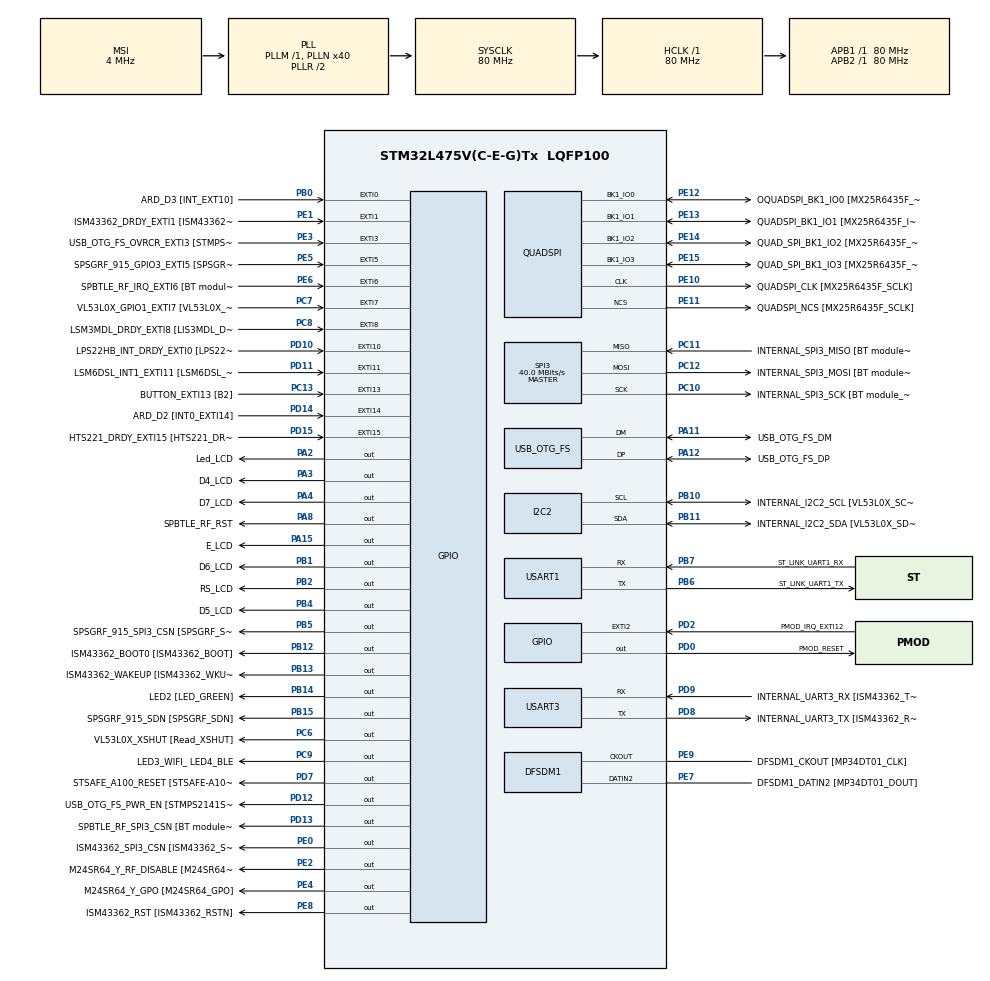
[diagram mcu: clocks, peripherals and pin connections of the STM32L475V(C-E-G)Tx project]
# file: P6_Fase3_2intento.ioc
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Mcu.Family=STM32L4
Mcu.Name=STM32L475V(C-E-G)Tx
Mcu.Package=LQFP100
NVIC.EXTI15_10_IRQn=true\:0\:0\:false\:false\:true\:true\:true\:true
NVIC.EXTI9_5_IRQn=true\:0\:0\:false\:false\:true\:true\:true\:true
NVIC.OTG_FS_IRQn=true\:0\:0\:false\:false\:true\:true\:true\:true
NVIC.PriorityGroup=NVIC_PRIORITYGROUP_4
PA0.GPIO_Label=ARD_D1 [UART4_TX]
PA0.Signal=UART4_TX
PA1.GPIO_Label=ARD_D0 [UART4_RX]
PA1.Signal=UART4_RX
PA10.GPIO_Label=USB_OTG_FS_ID
PA10.Signal=USB_OTG_FS_ID
PA11.GPIO_Label=USB_OTG_FS_DM
PA11.Mode=Device_Only
PA11.Signal=USB_OTG_FS_DM
PA12.GPIO_Label=USB_OTG_FS_DP
PA12.Mode=Device_Only
PA12.Signal=USB_OTG_FS_DP
PA13\ (JTMS-SWDIO).GPIO_Label=SYS_JTMS_SWDIO
PA13\ (JTMS-SWDIO).Mode=Serial_Wire
PA13\ (JTMS-SWDIO).Signal=SYS_JTMS-SWDIO
PA14\ (JTCK-SWCLK).GPIO_Label=SYS_JTCK_SWCLK
PA14\ (JTCK-SWCLK).Mode=Serial_Wire
PA14\ (JTCK-SWCLK).Signal=SYS_JTCK-SWCLK
PA15\ (JTDI).GPIO_Label=E_LCD
PA15\ (JTDI).Signal=GPIO_Output
PA2.GPIO_Label=Led_LCD
PA2.Signal=GPIO_Output
PA3.GPIO_Label=D4_LCD
PA3.Signal=GPIO_Output
PA4.GPIO_Label=D7_LCD
PA4.Signal=GPIO_Output
PA5.GPIO_Label=ARD_D13 [SPI1_SCK]
PA5.Signal=SPI1_SCK
PA6.GPIO_Label=ARD_D12 [SPI1_MISO]
PA6.Signal=SPI1_MISO
PA7.GPIO_Label=ARD_D11 [SPI1_MOSI]
PA7.Signal=SPI1_MOSI
PA8.GPIO_Label=SPBTLE_RF_RST
PA8.Signal=GPIO_Output
PA9.GPIO_Label=USB_OTG_FS_VBUS [STMPS2141STR_OUT]
PA9.Signal=USB_OTG_FS_VBUS
PB0.GPIO_Label=ARD_D3 [INT_EXT10]
PB0.Signal=GPXTI0
PB1.GPIO_Label=D6_LCD
PB1.Signal=GPIO_Output
PB10.GPIO_Label=INTERNAL_I2C2_SCL [VL53L0X_SCL]
PB10.GPIO_Pu=GPIO_PULLUP
PB10.Mode=I2C
PB10.Signal=I2C2_SCL
PB11.GPIO_Label=INTERNAL_I2C2_SDA [VL53L0X_SDA]
PB11.GPIO_Pu=GPIO_PULLUP
PB11.Mode=I2C
PB11.Signal=I2C2_SDA
PB12.GPIO_Label=ISM43362_BOOT0 [ISM43362_BOOT]
PB12.Signal=GPIO_Output
PB13.GPIO_Label=ISM43362_WAKEUP [ISM43362_WKUP]
PB13.Signal=GPIO_Output
PB14.GPIO_Label=LED2 [LED_GREEN]
PB14.Signal=GPIO_Output
PB15.GPIO_Label=SPSGRF_915_SDN [SPSGRF_SDN]
PB15.Signal=GPIO_Output
PB2.GPIO_Label=RS_LCD
PB2.Signal=GPIO_Output
PB3\ (JTDO-TRACESWO).GPIO_Label=SYS_JTD0_SWO
PB3\ (JTDO-TRACESWO).Signal=SYS_JTDO-SWO
PB4\ (NJTRST).GPIO_Label=D5_LCD
PB4\ (NJTRST).Signal=GPIO_Output
PB5.GPIO_Label=SPSGRF_915_SPI3_CSN [SPSGRF_SPI_CS]
PB5.PinState=GPIO_PIN_SET
PB5.Signal=GPIO_Output
PB6.GPIO_Label=ST_LINK_UART1_TX
PB6.Mode=Asynchronous
PB6.Signal=USART1_TX
PB7.GPIO_Label=ST_LINK_UART1_RX
PB7.Mode=Asynchronous
PB7.Signal=USART1_RX
PB8.GPIO_Label=ARD_D15 [I2C1_SCL]
PB8.Signal=I2C1_SCL
PB9.GPIO_Label=ARD_D14 [I2C1_SDA]
PB9.Signal=I2C1_SDA
PC0.GPIO_Label=ARD_A5 [ADC]
PC0.Signal=ADCx_IN1
PC1.GPIO_Label=ARD_A4 [ADC]
PC1.Signal=ADCx_IN2
PC10.GPIO_Label=INTERNAL_SPI3_SCK [BT module_SPI_SCLK] [ISM43362_SCK]
PC10.Mode=Full_Duplex_Master
PC10.Signal=SPI3_SCK
PC11.GPIO_Label=INTERNAL_SPI3_MISO [BT module_SPI_MISO] [ISM43362_MISO]
PC11.Mode=Full_Duplex_Master
PC11.Signal=SPI3_MISO
PC12.GPIO_Label=INTERNAL_SPI3_MOSI [BT module_SPI_MOSI] [ISM43362_MOSI]
PC12.Mode=Full_Duplex_Master
PC12.Signal=SPI3_MOSI
PC13.GPIO_Label=BUTTON_EXTI13 [B2]
PC13.GPIO_ModeDefaultEXTI=GPIO_MODE_IT_FALLING
PC13.Signal=GPXTI13
PC14-OSC32_IN\ (PC14).Mode=LSE-External-Oscillator
PC14-OSC32_IN\ (PC14).Signal=RCC_OSC32_IN
PC15-OSC32_OUT\ (PC15).Mode=LSE-External-Oscillator
PC15-OSC32_OUT\ (PC15).Signal=RCC_OSC32_OUT
PC2.GPIO_Label=ARD_A3 [ADC]
PC2.Signal=ADCx_IN3
PC3.GPIO_Label=ARD_A2 [ADC]
PC3.Signal=ADCx_IN4
PC4.GPIO_Label=ARD_A1 [ADC]
PC4.Signal=ADCx_IN13
PC5.GPIO_Label=ARD_A0 [ADC]
PC5.Signal=ADCx_IN14
PC6.GPIO_Label=VL53L0X_XSHUT [Read_XSHUT]
PC6.Signal=GPIO_Output
PC7.GPIO_Label=VL53L0X_GPIO1_EXTI7 [VL53L0X_GPIO1]
PC7.Signal=GPXTI7
PC8.GPIO_Label=LSM3MDL_DRDY_EXTI8 [LIS3MDL_DRDY]
PC8.Signal=GPXTI8
PC9.GPIO_Label=LED3_WIFI_ LED4_BLE
PC9.Signal=GPIO_Output
PD0.GPIO_Label=PMOD_RESET
PD0.Signal=GPIO_Output
PD1.GPIO_Label=PMOD_SPI2_SCK
PD1.Signal=SPI2_SCK
PD10.GPIO_Label=LPS22HB_INT_DRDY_EXTI0 [LPS22HB_INT_DRDY] 
PD10.Signal=GPXTI10
PD11.GPIO_Label=LSM6DSL_INT1_EXTI11 [LSM6DSL_INT1]
PD11.Signal=GPXTI11
PD12.GPIO_Label=USB_OTG_FS_PWR_EN [STMPS2141STR_EN]
PD12.Signal=GPIO_Output
PD13.GPIO_Label=SPBTLE_RF_SPI3_CSN [BT module_SPI_CS]
PD13.PinState=GPIO_PIN_SET
PD13.Signal=GPIO_Output
PD14.GPIO_Label=ARD_D2 [INT0_EXTI14]
PD14.Signal=GPXTI14
PD15.GPIO_Label=HTS221_DRDY_EXTI15 [HTS221_DRDY]
PD15.Signal=GPXTI15
PD2.GPIO_Label=PMOD_IRQ_EXTI12
PD2.Signal=GPXTI2
PD3.GPIO_Label=PMOD_UART2_CTS
PD3.Signal=USART2_CTS
PD4.GPIO_Label=PMOD_UART2_RTS
PD4.Signal=USART2_RTS
PD5.GPIO_Label=PMOD_UART2_TX
PD5.Signal=USART2_TX
PD6.GPIO_Label=PMOD_UART2_RX
PD6.Signal=USART2_RX
PD7.GPIO_Label=STSAFE_A100_RESET [STSAFE-A100_RESET]
PD7.Signal=GPIO_Output
PD8.GPIO_Label=INTERNAL_UART3_TX [ISM43362_RX]
PD8.Mode=Asynchronous
PD8.Signal=USART3_TX
PD9.GPIO_Label=INTERNAL_UART3_RX [ISM43362_TX]
PD9.Mode=Asynchronous
PD9.Signal=USART3_RX
PE0.GPIO_Label=ISM43362_SPI3_CSN [ISM43362_SSN]
PE0.PinState=GPIO_PIN_SET
PE0.Signal=GPIO_Output
PE1.GPIO_Label=ISM43362_DRDY_EXTI1 [ISM43362_DATARDY]
PE1.Signal=GPXTI1
PE10.GPIO_Label=QUADSPI_CLK [MX25R6435F_SCLK]
PE10.Mode=Single Bank
PE10.Signal=QUADSPI_CLK
PE11.GPIO_Label=QUADSPI_NCS [MX25R6435F_SCLK]
PE11.Mode=Single Bank
PE11.Signal=QUADSPI_NCS
PE12.GPIO_Label=OQUADSPI_BK1_IO0 [MX25R6435F_IO0]
PE12.Mode=Single Bank
PE12.Signal=QUADSPI_BK1_IO0
PE13.GPIO_Label=QUADSPI_BK1_IO1 [MX25R6435F_IO1]
PE13.Mode=Single Bank
PE13.Signal=QUADSPI_BK1_IO1
PE14.GPIO_Label=QUAD_SPI_BK1_IO2 [MX25R6435F_IO2]
PE14.Mode=Single Bank
PE14.Signal=QUADSPI_BK1_IO2
PE15.GPIO_Label=QUAD_SPI_BK1_IO3 [MX25R6435F_IO3]
PE15.Mode=Single Bank
PE15.Signal=QUADSPI_BK1_IO3
PE2.GPIO_Label=M24SR64_Y_RF_DISABLE [M24SR64_RFDIS]
PE2.Signal=GPIO_Output
PE3.GPIO_Label=USB_OTG_FS_OVRCR_EXTI3 [STMPS2141STR_FAULT]
PE3.Signal=GPXTI3
PE4.GPIO_Label=M24SR64_Y_GPO [M24SR64_GPO]
PE4.Signal=GPIO_Output
PE5.GPIO_Label=SPSGRF_915_GPIO3_EXTI5 [SPSGRF_GPIO_3]
PE5.Signal=GPXTI5
PE6.GPIO_Label=SPBTLE_RF_IRQ_EXTI6 [BT module_SPI_IRQ]
PE6.Signal=GPXTI6
PE7.GPIO_Label=DFSDM1_DATIN2 [MP34DT01_DOUT]
PE7.Signal=S_DATAIN2DFSDM1
PE8.GPIO_Label=ISM43362_RST [ISM43362_RSTN]
PE8.Signal=GPIO_Output
PE9.GPIO_Label=DFSDM1_CKOUT [MP34DT01_CLK]
PE9.Signal=S_CKOUTDFSDM1
ProjectManager.HeapSize=0x200
ProjectManager.StackSize=0x400
ProjectManager.TargetToolchain=STM32CubeIDE
QUADSPI.ClockPrescaler=2
QUADSPI.FifoThreshold=4
QUADSPI.FlashSize=23
QUADSPI.SampleShifting=QSPI_SAMPLE_SHIFTING_HALFCYCLE
RCC.ADCFreq_Value=48000000
RCC.AHBFreq_Value=80000000
RCC.APB1Freq_Value=80000000
RCC.APB1TimFreq_Value=80000000
RCC.APB2Freq_Value=80000000
RCC.APB2TimFreq_Value=80000000
RCC.CortexFreq_Value=80000000
RCC.HCLKFreq_Value=80000000
RCC.HSE_VALUE=8000000
RCC.HSI_VALUE=16000000
RCC.MSI_VALUE=4000000
RCC.PLLN=40
RCC.PLLSAI1N=24
RCC.SYSCLKFreq_VALUE=80000000
RCC.SYSCLKSource=RCC_SYSCLKSOURCE_PLLCLK
RCC.USBFreq_Value=48000000
RCC.VCOOutputFreq_Value=160000000
SH.ADCx_IN1.0=ADC1_IN1
SH.ADCx_IN13.0=ADC1_IN13
SH.ADCx_IN14.0=ADC1_IN14
SH.ADCx_IN2.0=ADC1_IN2
SH.ADCx_IN3.0=ADC1_IN3
SH.ADCx_IN4.0=ADC1_IN4
SH.S_CKOUTDFSDM1.0=DFSDM1_CKOUT,CKOUT
SH.S_CKOUTDFSDM1.1=DFSDM1_CKOUT,PDM_SPI_Input_from_ch12_and_Internal_Clock
SH.S_DATAIN2DFSDM1.0=DFSDM1_DATIN2,PDM_SPI_Input_from_ch12_and_Internal_Clock
SPI3.CalculateBaudRate=40.0 MBits/s
SPI3.Direction=SPI_DIRECTION_2LINES
SPI3.Mode=SPI_MODE_MASTER
SPI3.VirtualType=VM_MASTER
USART1.VirtualMode-Asynchronous=VM_ASYNC
USART3.VirtualMode-Asynchronous=VM_ASYNC
USB_DEVICE.CLASS_NAME_FS=CUSTOM_HID
USB_DEVICE.PID_CUSTOMHID_FS=22367
USB_DEVICE.USBD_CUSTOMHID_OUTREPORT_BUF_SIZE=6
USB_DEVICE.USBD_CUSTOM_HID_REPORT_DESC_SIZE=29
USB_DEVICE.VID=1337
USB_DEVICE.VirtualMode=CustomHid
USB_DEVICE.VirtualModeFS=Custom_Hid_FS
USB_OTG_FS.VirtualMode=Device_Only
VP_USB_DEVICE_VS_USB_DEVICE_CUSTOM_HID_FS.Mode=CUSTOM_HID_FS
board=B-L475E-IOT01A2

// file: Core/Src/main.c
/* USER CODE BEGIN Header */
/**
  ******************************************************************************
  * @file           : main.c
  * @brief          : Main program body
  ******************************************************************************
  * @attention
  *
  * Copyright (c) 2024 STMicroelectronics.
  * All rights reserved.
  *
  * This software is licensed under terms that can be found in the LICENSE file
  * in the root directory of this software component.
  * If no LICENSE file comes with this software, it is provided AS-IS.
  *
  ******************************************************************************
  */
/* USER CODE END Header */
#include "main.h"
#include "usb_device.h"
#include "hd44780.h"

DFSDM_Channel_HandleTypeDef hdfsdm1_channel1;

I2C_HandleTypeDef hi2c2;

QSPI_HandleTypeDef hqspi;

SPI_HandleTypeDef hspi3;

UART_HandleTypeDef huart1;
UART_HandleTypeDef huart3;

void SystemClock_Config(void);
static void MX_GPIO_Init(void);
static void MX_DFSDM1_Init(void);
static void MX_I2C2_Init(void);
static void MX_QUADSPI_Init(void);
static void MX_SPI3_Init(void);
static void MX_USART1_UART_Init(void);
static void MX_USART3_UART_Init(void);

/* USER CODE BEGIN 0 */
extern USBD_HandleTypeDef hUsbDeviceFS;
extern uint8_t miflag;
/* USER CODE END 0 */

int main(void)
{

  /* MCU Configuration--------------------------------------------------------*/

  /* Reset of all peripherals, Initializes the Flash interface and the Systick. */
  HAL_Init();

  /* Configure the system clock */
  SystemClock_Config();

  /* Initialize all configured peripherals */
  MX_GPIO_Init();
  MX_DFSDM1_Init();
  MX_I2C2_Init();
  MX_QUADSPI_Init();
  MX_SPI3_Init();
  MX_USART1_UART_Init();
  MX_USART3_UART_Init();
  MX_USB_DEVICE_Init();
  /* USER CODE BEGIN 2 */
HAL_Delay(5000);
int i;
uint8_t dato[6];
dato[0]= 0;
USBD_LL_PrepareReceive(&hUsbDeviceFS, 1, dato, 6);
HAL_GPIO_WritePin(Led_LCD_GPIO_Port, Led_LCD_Pin,1);
lcd_reset();
lcd_clear();
lcd_display_settings(1,0,0);
lcd_print("Hola");
  /* USER CODE END 2 */

  /* Infinite loop */
  /* USER CODE BEGIN WHILE */
  while (1)
  {
	  if(miflag==1){
		  USBD_LL_PrepareReceive(&hUsbDeviceFS, 1, dato, 6);
		  	  miflag= 0;
	  }
	  for(i = 0; i<50;i++){
		 dato[1]=4;
		 dato[2]= 4;
		 USBD_CUSTOM_HID_SendReport_FS(dato, 6);
		 HAL_Delay(100);
	  }
	  for(i = 0; i<50;i++){
	  		 dato[1]=-4;
	  		 dato[2]= -4;
	  		 USBD_CUSTOM_HID_SendReport_FS(dato, 6);
	  		 HAL_Delay(100);
	  	  }
    /* USER CODE END WHILE */

  }
}

void SystemClock_Config(void)
{
  RCC_OscInitTypeDef RCC_OscInitStruct = {0};
  RCC_ClkInitTypeDef RCC_ClkInitStruct = {0};

  /** Configure the main internal regulator output voltage
  */
  if (HAL_PWREx_ControlVoltageScaling(PWR_REGULATOR_VOLTAGE_SCALE1) != HAL_OK)
  {
    Error_Handler();
  }

  /** Configure LSE Drive Capability
  */
  HAL_PWR_EnableBkUpAccess();
  __HAL_RCC_LSEDRIVE_CONFIG(RCC_LSEDRIVE_LOW);

  /** Initializes the RCC Oscillators according to the specified parameters
  * in the RCC_OscInitTypeDef structure.
  */
  RCC_OscInitStruct.OscillatorType = RCC_OSCILLATORTYPE_LSE|RCC_OSCILLATORTYPE_MSI;
  RCC_OscInitStruct.LSEState = RCC_LSE_ON;
  RCC_OscInitStruct.MSIState = RCC_MSI_ON;
  RCC_OscInitStruct.MSICalibrationValue = 0;
  RCC_OscInitStruct.MSIClockRange = RCC_MSIRANGE_6;
  RCC_OscInitStruct.PLL.PLLState = RCC_PLL_ON;
  RCC_OscInitStruct.PLL.PLLSource = RCC_PLLSOURCE_MSI;
  RCC_OscInitStruct.PLL.PLLM = 1;
  RCC_OscInitStruct.PLL.PLLN = 40;
  RCC_OscInitStruct.PLL.PLLP = RCC_PLLP_DIV7;
  RCC_OscInitStruct.PLL.PLLQ = RCC_PLLQ_DIV2;
  RCC_OscInitStruct.PLL.PLLR = RCC_PLLR_DIV2;
  if (HAL_RCC_OscConfig(&RCC_OscInitStruct) != HAL_OK)
  {
    Error_Handler();
  }

  /** Initializes the CPU, AHB and APB buses clocks
  */
  RCC_ClkInitStruct.ClockType = RCC_CLOCKTYPE_HCLK|RCC_CLOCKTYPE_SYSCLK
                              |RCC_CLOCKTYPE_PCLK1|RCC_CLOCKTYPE_PCLK2;
  RCC_ClkInitStruct.SYSCLKSource = RCC_SYSCLKSOURCE_PLLCLK;
  RCC_ClkInitStruct.AHBCLKDivider = RCC_SYSCLK_DIV1;
  RCC_ClkInitStruct.APB1CLKDivider = RCC_HCLK_DIV1;
  RCC_ClkInitStruct.APB2CLKDivider = RCC_HCLK_DIV1;

  if (HAL_RCC_ClockConfig(&RCC_ClkInitStruct, FLASH_LATENCY_4) != HAL_OK)
  {
    Error_Handler();
  }

  /** Enable MSI Auto calibration
  */
  HAL_RCCEx_EnableMSIPLLMode();
}

static void MX_DFSDM1_Init(void)
{

  hdfsdm1_channel1.Instance = DFSDM1_Channel1;
  hdfsdm1_channel1.Init.OutputClock.Activation = ENABLE;
  hdfsdm1_channel1.Init.OutputClock.Selection = DFSDM_CHANNEL_OUTPUT_CLOCK_SYSTEM;
  hdfsdm1_channel1.Init.OutputClock.Divider = 2;
  hdfsdm1_channel1.Init.Input.Multiplexer = DFSDM_CHANNEL_EXTERNAL_INPUTS;
  hdfsdm1_channel1.Init.Input.DataPacking = DFSDM_CHANNEL_STANDARD_MODE;
  hdfsdm1_channel1.Init.Input.Pins = DFSDM_CHANNEL_FOLLOWING_CHANNEL_PINS;
  hdfsdm1_channel1.Init.SerialInterface.Type = DFSDM_CHANNEL_SPI_RISING;
  hdfsdm1_channel1.Init.SerialInterface.SpiClock = DFSDM_CHANNEL_SPI_CLOCK_INTERNAL;
  hdfsdm1_channel1.Init.Awd.FilterOrder = DFSDM_CHANNEL_FASTSINC_ORDER;
  hdfsdm1_channel1.Init.Awd.Oversampling = 1;
  hdfsdm1_channel1.Init.Offset = 0;
  hdfsdm1_channel1.Init.RightBitShift = 0x00;
  if (HAL_DFSDM_ChannelInit(&hdfsdm1_channel1) != HAL_OK)
  {
    Error_Handler();
  }

}

static void MX_I2C2_Init(void)
{

  hi2c2.Instance = I2C2;
  hi2c2.Init.Timing = 0x00000E14;
  hi2c2.Init.OwnAddress1 = 0;
  hi2c2.Init.AddressingMode = I2C_ADDRESSINGMODE_7BIT;
  hi2c2.Init.DualAddressMode = I2C_DUALADDRESS_DISABLE;
  hi2c2.Init.OwnAddress2 = 0;
  hi2c2.Init.OwnAddress2Masks = I2C_OA2_NOMASK;
  hi2c2.Init.GeneralCallMode = I2C_GENERALCALL_DISABLE;
  hi2c2.Init.NoStretchMode = I2C_NOSTRETCH_DISABLE;
  if (HAL_I2C_Init(&hi2c2) != HAL_OK)
  {
    Error_Handler();
  }

  /** Configure Analogue filter
  */
  if (HAL_I2CEx_ConfigAnalogFilter(&hi2c2, I2C_ANALOGFILTER_ENABLE) != HAL_OK)
  {
    Error_Handler();
  }

  /** Configure Digital filter
  */
  if (HAL_I2CEx_ConfigDigitalFilter(&hi2c2, 0) != HAL_OK)
  {
    Error_Handler();
  }

}

static void MX_QUADSPI_Init(void)
{

  /* QUADSPI parameter configuration*/
  hqspi.Instance = QUADSPI;
  hqspi.Init.ClockPrescaler = 2;
  hqspi.Init.FifoThreshold = 4;
  hqspi.Init.SampleShifting = QSPI_SAMPLE_SHIFTING_HALFCYCLE;
  hqspi.Init.FlashSize = 23;
  hqspi.Init.ChipSelectHighTime = QSPI_CS_HIGH_TIME_1_CYCLE;
  hqspi.Init.ClockMode = QSPI_CLOCK_MODE_0;
  if (HAL_QSPI_Init(&hqspi) != HAL_OK)
  {
    Error_Handler();
  }

}

static void MX_SPI3_Init(void)
{

  /* SPI3 parameter configuration*/
  hspi3.Instance = SPI3;
  hspi3.Init.Mode = SPI_MODE_MASTER;
  hspi3.Init.Direction = SPI_DIRECTION_2LINES;
  hspi3.Init.DataSize = SPI_DATASIZE_4BIT;
  hspi3.Init.CLKPolarity = SPI_POLARITY_LOW;
  hspi3.Init.CLKPhase = SPI_PHASE_1EDGE;
  hspi3.Init.NSS = SPI_NSS_SOFT;
  hspi3.Init.BaudRatePrescaler = SPI_BAUDRATEPRESCALER_2;
  hspi3.Init.FirstBit = SPI_FIRSTBIT_MSB;
  hspi3.Init.TIMode = SPI_TIMODE_DISABLE;
  hspi3.Init.CRCCalculation = SPI_CRCCALCULATION_DISABLE;
  hspi3.Init.CRCPolynomial = 7;
  hspi3.Init.CRCLength = SPI_CRC_LENGTH_DATASIZE;
  hspi3.Init.NSSPMode = SPI_NSS_PULSE_ENABLE;
  if (HAL_SPI_Init(&hspi3) != HAL_OK)
  {
    Error_Handler();
  }

}

static void MX_USART1_UART_Init(void)
{

  huart1.Instance = USART1;
  huart1.Init.BaudRate = 115200;
  huart1.Init.WordLength = UART_WORDLENGTH_8B;
  huart1.Init.StopBits = UART_STOPBITS_1;
  huart1.Init.Parity = UART_PARITY_NONE;
  huart1.Init.Mode = UART_MODE_TX_RX;
  huart1.Init.HwFlowCtl = UART_HWCONTROL_NONE;
  huart1.Init.OverSampling = UART_OVERSAMPLING_16;
  huart1.Init.OneBitSampling = UART_ONE_BIT_SAMPLE_DISABLE;
  huart1.AdvancedInit.AdvFeatureInit = UART_ADVFEATURE_NO_INIT;
  if (HAL_UART_Init(&huart1) != HAL_OK)
  {
    Error_Handler();
  }

}

static void MX_USART3_UART_Init(void)
{

  huart3.Instance = USART3;
  huart3.Init.BaudRate = 115200;
  huart3.Init.WordLength = UART_WORDLENGTH_8B;
  huart3.Init.StopBits = UART_STOPBITS_1;
  huart3.Init.Parity = UART_PARITY_NONE;
  huart3.Init.Mode = UART_MODE_TX_RX;
  huart3.Init.HwFlowCtl = UART_HWCONTROL_NONE;
  huart3.Init.OverSampling = UART_OVERSAMPLING_16;
  huart3.Init.OneBitSampling = UART_ONE_BIT_SAMPLE_DISABLE;
  huart3.AdvancedInit.AdvFeatureInit = UART_ADVFEATURE_NO_INIT;
  if (HAL_UART_Init(&huart3) != HAL_OK)
  {
    Error_Handler();
  }

}

static void MX_GPIO_Init(void)
{
  GPIO_InitTypeDef GPIO_InitStruct = {0};

  /* GPIO Ports Clock Enable */
  __HAL_RCC_GPIOE_CLK_ENABLE();
  __HAL_RCC_GPIOC_CLK_ENABLE();
  __HAL_RCC_GPIOA_CLK_ENABLE();
  __HAL_RCC_GPIOB_CLK_ENABLE();
  __HAL_RCC_GPIOD_CLK_ENABLE();

  /*Configure GPIO pin Output Level */
  HAL_GPIO_WritePin(GPIOE, M24SR64_Y_RF_DISABLE_Pin|M24SR64_Y_GPO_Pin|ISM43362_RST_Pin, GPIO_PIN_RESET);

  /*Configure GPIO pin Output Level */
  HAL_GPIO_WritePin(GPIOA, Led_LCD_Pin|D4_LCD_Pin|D7_LCD_Pin|SPBTLE_RF_RST_Pin
                          |E_LCD_Pin, GPIO_PIN_RESET);

  /*Configure GPIO pin Output Level */
  HAL_GPIO_WritePin(GPIOB, D6_LCD_Pin|RS_LCD_Pin|ISM43362_BOOT0_Pin|ISM43362_WAKEUP_Pin
                          |LED2_Pin|SPSGRF_915_SDN_Pin|D5_LCD_Pin, GPIO_PIN_RESET);

  /*Configure GPIO pin Output Level */
  HAL_GPIO_WritePin(GPIOD, USB_OTG_FS_PWR_EN_Pin|PMOD_RESET_Pin|STSAFE_A100_RESET_Pin, GPIO_PIN_RESET);

  /*Configure GPIO pin Output Level */
  HAL_GPIO_WritePin(SPBTLE_RF_SPI3_CSN_GPIO_Port, SPBTLE_RF_SPI3_CSN_Pin, GPIO_PIN_SET);

  /*Configure GPIO pin Output Level */
  HAL_GPIO_WritePin(GPIOC, VL53L0X_XSHUT_Pin|LED3_WIFI__LED4_BLE_Pin, GPIO_PIN_RESET);

  /*Configure GPIO pin Output Level */
  HAL_GPIO_WritePin(SPSGRF_915_SPI3_CSN_GPIO_Port, SPSGRF_915_SPI3_CSN_Pin, GPIO_PIN_SET);

  /*Configure GPIO pin Output Level */
  HAL_GPIO_WritePin(ISM43362_SPI3_CSN_GPIO_Port, ISM43362_SPI3_CSN_Pin, GPIO_PIN_SET);

  /*Configure GPIO pins : M24SR64_Y_RF_DISABLE_Pin M24SR64_Y_GPO_Pin ISM43362_RST_Pin ISM43362_SPI3_CSN_Pin */
  GPIO_InitStruct.Pin = M24SR64_Y_RF_DISABLE_Pin|M24SR64_Y_GPO_Pin|ISM43362_RST_Pin|ISM43362_SPI3_CSN_Pin;
  GPIO_InitStruct.Mode = GPIO_MODE_OUTPUT_PP;
  GPIO_InitStruct.Pull = GPIO_NOPULL;
  GPIO_InitStruct.Speed = GPIO_SPEED_FREQ_LOW;
  HAL_GPIO_Init(GPIOE, &GPIO_InitStruct);

  /*Configure GPIO pins : USB_OTG_FS_OVRCR_EXTI3_Pin SPSGRF_915_GPIO3_EXTI5_Pin SPBTLE_RF_IRQ_EXTI6_Pin ISM43362_DRDY_EXTI1_Pin */
  GPIO_InitStruct.Pin = USB_OTG_FS_OVRCR_EXTI3_Pin|SPSGRF_915_GPIO3_EXTI5_Pin|SPBTLE_RF_IRQ_EXTI6_Pin|ISM43362_DRDY_EXTI1_Pin;
  GPIO_InitStruct.Mode = GPIO_MODE_IT_RISING;
  GPIO_InitStruct.Pull = GPIO_NOPULL;
  HAL_GPIO_Init(GPIOE, &GPIO_InitStruct);

  /*Configure GPIO pin : BUTTON_EXTI13_Pin */
  GPIO_InitStruct.Pin = BUTTON_EXTI13_Pin;
  GPIO_InitStruct.Mode = GPIO_MODE_IT_FALLING;
  GPIO_InitStruct.Pull = GPIO_NOPULL;
  HAL_GPIO_Init(BUTTON_EXTI13_GPIO_Port, &GPIO_InitStruct);

  /*Configure GPIO pins : ARD_A5_Pin ARD_A4_Pin ARD_A3_Pin ARD_A2_Pin
                           ARD_A1_Pin ARD_A0_Pin */
  GPIO_InitStruct.Pin = ARD_A5_Pin|ARD_A4_Pin|ARD_A3_Pin|ARD_A2_Pin
                          |ARD_A1_Pin|ARD_A0_Pin;
  GPIO_InitStruct.Mode = GPIO_MODE_ANALOG_ADC_CONTROL;
  GPIO_InitStruct.Pull = GPIO_NOPULL;
  HAL_GPIO_Init(GPIOC, &GPIO_InitStruct);

  /*Configure GPIO pins : ARD_D1_Pin ARD_D0_Pin */
  GPIO_InitStruct.Pin = ARD_D1_Pin|ARD_D0_Pin;
  GPIO_InitStruct.Mode = GPIO_MODE_AF_PP;
  GPIO_InitStruct.Pull = GPIO_NOPULL;
  GPIO_InitStruct.Speed = GPIO_SPEED_FREQ_VERY_HIGH;
  GPIO_InitStruct.Alternate = GPIO_AF8_UART4;
  HAL_GPIO_Init(GPIOA, &GPIO_InitStruct);

  /*Configure GPIO pins : Led_LCD_Pin D4_LCD_Pin D7_LCD_Pin SPBTLE_RF_RST_Pin
                           E_LCD_Pin */
  GPIO_InitStruct.Pin = Led_LCD_Pin|D4_LCD_Pin|D7_LCD_Pin|SPBTLE_RF_RST_Pin
                          |E_LCD_Pin;
  GPIO_InitStruct.Mode = GPIO_MODE_OUTPUT_PP;
  GPIO_InitStruct.Pull = GPIO_NOPULL;
  GPIO_InitStruct.Speed = GPIO_SPEED_FREQ_LOW;
  HAL_GPIO_Init(GPIOA, &GPIO_InitStruct);

  /*Configure GPIO pins : ARD_D13_Pin ARD_D12_Pin ARD_D11_Pin */
  GPIO_InitStruct.Pin = ARD_D13_Pin|ARD_D12_Pin|ARD_D11_Pin;
  GPIO_InitStruct.Mode = GPIO_MODE_AF_PP;
  GPIO_InitStruct.Pull = GPIO_NOPULL;
  GPIO_InitStruct.Speed = GPIO_SPEED_FREQ_VERY_HIGH;
  GPIO_InitStruct.Alternate = GPIO_AF5_SPI1;
  HAL_GPIO_Init(GPIOA, &GPIO_InitStruct);

  /*Configure GPIO pin : ARD_D3_Pin */
  GPIO_InitStruct.Pin = ARD_D3_Pin;
  GPIO_InitStruct.Mode = GPIO_MODE_IT_RISING;
  GPIO_InitStruct.Pull = GPIO_NOPULL;
  HAL_GPIO_Init(ARD_D3_GPIO_Port, &GPIO_InitStruct);

  /*Configure GPIO pins : D6_LCD_Pin RS_LCD_Pin ISM43362_BOOT0_Pin ISM43362_WAKEUP_Pin
                           LED2_Pin SPSGRF_915_SDN_Pin D5_LCD_Pin SPSGRF_915_SPI3_CSN_Pin */
  GPIO_InitStruct.Pin = D6_LCD_Pin|RS_LCD_Pin|ISM43362_BOOT0_Pin|ISM43362_WAKEUP_Pin
                          |LED2_Pin|SPSGRF_915_SDN_Pin|D5_LCD_Pin|SPSGRF_915_SPI3_CSN_Pin;
  GPIO_InitStruct.Mode = GPIO_MODE_OUTPUT_PP;
  GPIO_InitStruct.Pull = GPIO_NOPULL;
  GPIO_InitStruct.Speed = GPIO_SPEED_FREQ_LOW;
  HAL_GPIO_Init(GPIOB, &GPIO_InitStruct);

  /*Configure GPIO pins : LPS22HB_INT_DRDY_EXTI0_Pin LSM6DSL_INT1_EXTI11_Pin ARD_D2_Pin HTS221_DRDY_EXTI15_Pin
                           PMOD_IRQ_EXTI12_Pin */
  GPIO_InitStruct.Pin = LPS22HB_INT_DRDY_EXTI0_Pin|LSM6DSL_INT1_EXTI11_Pin|ARD_D2_Pin|HTS221_DRDY_EXTI15_Pin
                          |PMOD_IRQ_EXTI12_Pin;
  GPIO_InitStruct.Mode = GPIO_MODE_IT_RISING;
  GPIO_InitStruct.Pull = GPIO_NOPULL;
  HAL_GPIO_Init(GPIOD, &GPIO_InitStruct);

  /*Configure GPIO pins : USB_OTG_FS_PWR_EN_Pin SPBTLE_RF_SPI3_CSN_Pin PMOD_RESET_Pin STSAFE_A100_RESET_Pin */
  GPIO_InitStruct.Pin = USB_OTG_FS_PWR_EN_Pin|SPBTLE_RF_SPI3_CSN_Pin|PMOD_RESET_Pin|STSAFE_A100_RESET_Pin;
  GPIO_InitStruct.Mode = GPIO_MODE_OUTPUT_PP;
  GPIO_InitStruct.Pull = GPIO_NOPULL;
  GPIO_InitStruct.Speed = GPIO_SPEED_FREQ_LOW;
  HAL_GPIO_Init(GPIOD, &GPIO_InitStruct);

  /*Configure GPIO pins : VL53L0X_XSHUT_Pin LED3_WIFI__LED4_BLE_Pin */
  GPIO_InitStruct.Pin = VL53L0X_XSHUT_Pin|LED3_WIFI__LED4_BLE_Pin;
  GPIO_InitStruct.Mode = GPIO_MODE_OUTPUT_PP;
  GPIO_InitStruct.Pull = GPIO_NOPULL;
  GPIO_InitStruct.Speed = GPIO_SPEED_FREQ_LOW;
  HAL_GPIO_Init(GPIOC, &GPIO_InitStruct);

  /*Configure GPIO pins : VL53L0X_GPIO1_EXTI7_Pin LSM3MDL_DRDY_EXTI8_Pin */
  GPIO_InitStruct.Pin = VL53L0X_GPIO1_EXTI7_Pin|LSM3MDL_DRDY_EXTI8_Pin;
  GPIO_InitStruct.Mode = GPIO_MODE_IT_RISING;
  GPIO_InitStruct.Pull = GPIO_NOPULL;
  HAL_GPIO_Init(GPIOC, &GPIO_InitStruct);

  /*Configure GPIO pin : PMOD_SPI2_SCK_Pin */
  GPIO_InitStruct.Pin = PMOD_SPI2_SCK_Pin;
  GPIO_InitStruct.Mode = GPIO_MODE_AF_PP;
  GPIO_InitStruct.Pull = GPIO_NOPULL;
  GPIO_InitStruct.Speed = GPIO_SPEED_FREQ_VERY_HIGH;
  GPIO_InitStruct.Alternate = GPIO_AF5_SPI2;
  HAL_GPIO_Init(PMOD_SPI2_SCK_GPIO_Port, &GPIO_InitStruct);

  /*Configure GPIO pins : PMOD_UART2_CTS_Pin PMOD_UART2_RTS_Pin PMOD_UART2_TX_Pin PMOD_UART2_RX_Pin */
  GPIO_InitStruct.Pin = PMOD_UART2_CTS_Pin|PMOD_UART2_RTS_Pin|PMOD_UART2_TX_Pin|PMOD_UART2_RX_Pin;
  GPIO_InitStruct.Mode = GPIO_MODE_AF_PP;
  GPIO_InitStruct.Pull = GPIO_NOPULL;
  GPIO_InitStruct.Speed = GPIO_SPEED_FREQ_VERY_HIGH;
  GPIO_InitStruct.Alternate = GPIO_AF7_USART2;
  HAL_GPIO_Init(GPIOD, &GPIO_InitStruct);

  /*Configure GPIO pins : ARD_D15_Pin ARD_D14_Pin */
  GPIO_InitStruct.Pin = ARD_D15_Pin|ARD_D14_Pin;
  GPIO_InitStruct.Mode = GPIO_MODE_AF_OD;
  GPIO_InitStruct.Pull = GPIO_NOPULL;
  GPIO_InitStruct.Speed = GPIO_SPEED_FREQ_VERY_HIGH;
  GPIO_InitStruct.Alternate = GPIO_AF4_I2C1;
  HAL_GPIO_Init(GPIOB, &GPIO_InitStruct);

  /* EXTI interrupt init*/
  HAL_NVIC_SetPriority(EXTI9_5_IRQn, 0, 0);
  HAL_NVIC_EnableIRQ(EXTI9_5_IRQn);

  HAL_NVIC_SetPriority(EXTI15_10_IRQn, 0, 0);
  HAL_NVIC_EnableIRQ(EXTI15_10_IRQn);

}

void Error_Handler(void)
{
  __disable_irq();
  while (1)
  {
  }
}
